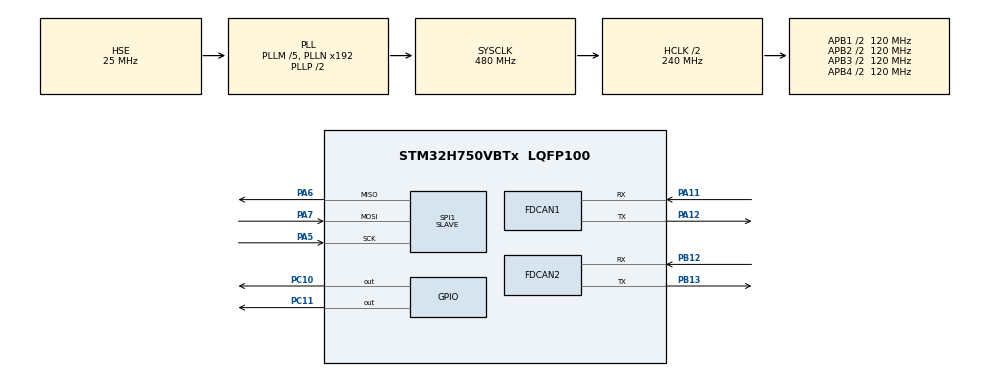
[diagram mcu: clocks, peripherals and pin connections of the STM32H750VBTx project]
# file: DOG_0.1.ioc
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FDCAN1.CalculateBaudRateNominal=999999
FDCAN1.CalculateTimeBitNominal=1000
FDCAN1.CalculateTimeQuantumNominal=41.66666666666667
FDCAN1.NominalPrescaler=5
FDCAN1.NominalTimeSeg1=15
FDCAN1.NominalTimeSeg2=8
FDCAN1.RxFifo0ElmtsNbr=32
FDCAN1.TxFifoQueueElmtsNbr=16
FDCAN2.CalculateBaudRateNominal=999999
FDCAN2.CalculateTimeBitNominal=1000
FDCAN2.CalculateTimeQuantumNominal=41.66666666666667
FDCAN2.NominalPrescaler=5
FDCAN2.NominalTimeSeg1=15
FDCAN2.NominalTimeSeg2=8
FDCAN2.RxFifo0ElmtsNbr=32
FDCAN2.TxFifoQueueElmtsNbr=16
Mcu.Family=STM32H7
Mcu.Name=STM32H750VBTx
Mcu.Package=LQFP100
NVIC.PriorityGroup=NVIC_PRIORITYGROUP_4
PA11.Mode=FDCAN_Activate
PA11.Signal=FDCAN1_RX
PA12.Mode=FDCAN_Activate
PA12.Signal=FDCAN1_TX
PA13\ (JTMS/SWDIO).Mode=Serial_Wire
PA13\ (JTMS/SWDIO).Signal=DEBUG_JTMS-SWDIO
PA14\ (JTCK/SWCLK).Mode=Serial_Wire
PA14\ (JTCK/SWCLK).Signal=DEBUG_JTCK-SWCLK
PA5.Mode=Full_Duplex_Slave
PA5.Signal=SPI1_SCK
PA6.Mode=Full_Duplex_Slave
PA6.Signal=SPI1_MISO
PA7.Mode=Full_Duplex_Slave
PA7.Signal=SPI1_MOSI
PB12.Mode=FDCAN_Activate
PB12.Signal=FDCAN2_RX
PB13.Mode=FDCAN_Activate
PB13.Signal=FDCAN2_TX
PC10.Signal=GPIO_Output
PC11.Signal=GPIO_Output
PC14-OSC32_IN\ (OSC32_IN).Mode=LSE-External-Oscillator
PC14-OSC32_IN\ (OSC32_IN).Signal=RCC_OSC32_IN
PC15-OSC32_OUT\ (OSC32_OUT).Mode=LSE-External-Oscillator
PC15-OSC32_OUT\ (OSC32_OUT).Signal=RCC_OSC32_OUT
PH0-OSC_IN\ (PH0).Mode=HSE-External-Oscillator
PH0-OSC_IN\ (PH0).Signal=RCC_OSC_IN
PH1-OSC_OUT\ (PH1).Mode=HSE-External-Oscillator
PH1-OSC_OUT\ (PH1).Signal=RCC_OSC_OUT
ProjectManager.HeapSize=0x200
ProjectManager.StackSize=0x400
ProjectManager.TargetToolchain=MDK-ARM V5.32
RCC.ADCFreq_Value=50390625
RCC.APB1Freq_Value=120000000
RCC.APB2Freq_Value=120000000
RCC.APB3Freq_Value=120000000
RCC.APB4Freq_Value=120000000
RCC.CortexFreq_Value=480000000
RCC.D1PPRE=RCC_APB3_DIV2
RCC.D2PPRE1=RCC_APB1_DIV2
RCC.D2PPRE2=RCC_APB2_DIV2
RCC.D3PPRE=RCC_APB4_DIV2
RCC.DIVM1=5
RCC.DIVN1=192
RCC.DIVQ1=8
RCC.HCLKFreq_Value=240000000
RCC.HPRE=RCC_HCLK_DIV2
RCC.PLL2FRACN=0
RCC.PLL3FRACN=0
RCC.PLLFRACN=0
RCC.PLLSourceVirtual=RCC_PLLSOURCE_HSE
RCC.SYSCLKFreq_VALUE=480000000
RCC.SYSCLKSource=RCC_SYSCLKSOURCE_PLLCLK
RCC.USBFreq_Value=120000000
SPI1.DataSize=SPI_DATASIZE_8BIT
SPI1.Direction=SPI_DIRECTION_2LINES
SPI1.Mode=SPI_MODE_SLAVE
SPI1.VirtualType=VM_SLAVE
board=custom

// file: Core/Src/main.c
/* USER CODE BEGIN Header */
/**
  ******************************************************************************
  * @file           : main.c
  * @brief          : Main program body
  ******************************************************************************
  * @attention
  *
  * Copyright (c) 2024 STMicroelectronics.
  * All rights reserved.
  *
  * This software is licensed under terms that can be found in the LICENSE file
  * in the root directory of this software component.
  * If no LICENSE file comes with this software, it is provided AS-IS.
  *
  ******************************************************************************
  */

/* USER CODE END Header */
#include "main.h"
#include "fdcan.h"
#include "spi.h"
#include "gpio.h"

/* USER CODE BEGIN Includes */

#include <string.h>
#include <math.h>
#include <stdbool.h>

/* USER CODE END Includes */

/* USER CODE BEGIN PTD */

/* USER CODE BEGIN PD */
#ifndef BOARD_IS_A
#define BOARD_IS_A              0
#endif
#define MASTER_CAN_ID           0x00FD

#define SPI_FRAME_LEN           96
#define SPI_CMD_MAGIC           0xFA

#define SPI_OP_NOP              0x00
#define SPI_OP_SEND_CAN_RAW     0x10
#define SPI_OP_REINIT_REPORTS   0x11
#define SPI_OP_SEND_CAN_BATCH   0x12
#define SPI_OP_READ_MOTOR_PARAM 0x13
#define SPI_BATCH_HEADER_LEN    4U
#define SPI_BATCH_ENTRY_LEN     13U
#define SPI_BATCH_MAX_ENTRIES   7U

#define SNAPSHOT_MAGIC          0x5A
#define PARAM_RESPONSE_MAGIC    0x5B
#define SNAPSHOT_CAP_BATCH_CAN  (1UL << 0)
#define SNAPSHOT_CAP_PARAM_READBACK (1UL << 1)
#define ONLINE_TIMEOUT_MS       100U
#define REPORT_RETRY_MS         1000U
#define REPORT_STALE_MS         500U

// EPScan_time: 1 代表 10ms，之后每 +1 增加 5ms
#define ACTIVE_REPORT_PERIOD_CODE   1U

volatile uint32_t g_fdcan_rx_cnt = 0;
volatile uint32_t g_last_ext_id = 0;
volatile uint8_t  g_last_cmd_type = 0;
volatile uint8_t  g_last_src_id = 0;
volatile uint8_t  g_last_dst_id = 0;
volatile uint8_t  g_last_data[8] = {0};
volatile uint32_t g_parse_hit_cnt = 0;
volatile uint32_t g_last_fb_ext_id = 0;
volatile uint8_t  g_last_fb_cmd_type = 0;

volatile uint32_t g_fdcan1_tx_ok = 0, g_fdcan1_tx_fail = 0;
volatile uint32_t g_fdcan2_tx_ok = 0, g_fdcan2_tx_fail = 0;

#if BOARD_IS_A
static const uint8_t BOARD_MOTOR_IDS[6] = {0x11, 0x12, 0x13, 0x21, 0x22, 0x23};
static const uint8_t BOARD_TAG = 0xA1;
#else
static const uint8_t BOARD_MOTOR_IDS[6] = {0x31, 0x32, 0x33, 0x41, 0x42, 0x43};
static const uint8_t BOARD_TAG = 0xB1;
#endif

uint8_t rxbuff[SPI_FRAME_LEN] = {0};
uint8_t txbuff[SPI_FRAME_LEN] = {0};
/* USER CODE END PD */

typedef struct {
    uint8_t  can_id;
    float    pos_rad;
    float    vel_rad_s;
    float    torque_nm;
    float    temp_c;

    uint8_t  online;
    uint8_t  fault_bits;   // bit21~16
    uint8_t  mode_state;   // 0 reset, 1 cali, 2 motor

    uint32_t last_ms;      // 最近一次收到反馈的 ms
    uint32_t rx_count;     // 累计收到反馈次数
} motor_state_t;

typedef struct __attribute__((packed)) {
    uint8_t  can_id;
    uint8_t  online;
    uint8_t  fault_bits;
    uint8_t  mode_state;
    int16_t  pos_mrad;     // rad * 1000
    int16_t  vel_crad;     // rad/s * 100
    int16_t  tq_cNm;       // Nm * 100
    int16_t  temp_dC;      // 摄氏度 * 10
    uint16_t age_ms;       // 当前快照时刻 - last_ms
} motor_snapshot_t;

typedef struct __attribute__((packed)) {
    uint8_t  magic;         // 0x5A
    uint8_t  board_tag;     // A1 / B1
    uint16_t seq;           // 快照序号
    uint32_t board_tick_ms; // 生成快照时刻
    motor_snapshot_t motors[6];
    uint32_t reserved;      // 先保留，凑成 96 字节
} board_snapshot_t;

typedef struct __attribute__((packed)) {
    uint8_t  magic;         // 0x5B
    uint8_t  board_tag;     // A1 / B1
    uint8_t  motor_id;
    uint8_t  status;        // 0 success, 1 waiting, 2 timeout, 3 bad request
    uint16_t index;
    uint16_t reserved0;
    float    value_f32;
    uint32_t response_tick_ms;
    uint8_t  reserved[80];
} param_response_t;

typedef char board_snapshot_size_check[
    (sizeof(board_snapshot_t) == SPI_FRAME_LEN) ? 1 : -1
];
typedef char param_response_size_check[
    (sizeof(param_response_t) == SPI_FRAME_LEN) ? 1 : -1
];

typedef struct {
    volatile uint8_t  pending;
    volatile uint8_t  ready;
    volatile uint8_t  motor_id;
    volatile uint8_t  status;
    volatile uint16_t index;
    volatile float    value_f32;
    volatile uint32_t request_tick_ms;
    volatile uint32_t response_tick_ms;
} param_read_state_t;

static volatile motor_state_t g_motors[6];
static uint16_t g_snapshot_seq = 0;
static volatile param_read_state_t g_param_read = {0};
static uint8_t g_param_response_in_flight = 0;

void SystemClock_Config(void);
static void MPU_Config(void);

/* USER CODE BEGIN 0 */
static float map_u16_to_float(uint16_t x, float min_v, float max_v)
{
    return ((float)x) * (max_v - min_v) / 65535.0f + min_v;
}

static uint16_t be16_u(const uint8_t *p)
{
    return ((uint16_t)p[0] << 8) | p[1];
}

static int16_t clamp_i16(int32_t x)
{
    if (x > 32767) return 32767;
    if (x < -32768) return -32768;
    return (int16_t)x;
}

static int motor_slot_from_id(uint8_t can_id)
{
    for (int i = 0; i < 6; i++) {
        if (BOARD_MOTOR_IDS[i] == can_id) return i;
    }
    return -1;
}

// 0x1X / 0x3X -> FDCAN1
// 0x2X / 0x4X -> FDCAN2
static uint8_t can_port_from_motor_id(uint8_t can_id)
{
    switch ((can_id >> 4) & 0x0F) {
    case 0x1:
    case 0x3:
        return 1;
    case 0x2:
    case 0x4:
        return 2;
    default:
        return 0;
    }
}

static uint32_t build_ext_id(uint8_t cmd_type, uint16_t data_info_16, uint8_t target_id)
{
    return (((uint32_t)(cmd_type & 0x1F)) << 24) |
           (((uint32_t)data_info_16) << 8) |
           ((uint32_t)target_id);
}

static uint8_t can_send_ext(uint8_t can_port, uint32_t ext_id, const uint8_t data[8])
{
    uint8_t extFrame[4];
    memcpy(extFrame, &ext_id, 4);

    if (can_port == 1) {
        if (FDCAN1_Send_Msg(extFrame, (uint8_t *)data) == 0) { // 假设成功返回 0
            g_fdcan1_tx_ok++;
            return 0;
        } else {
            g_fdcan1_tx_fail++;
            return 1;
        }
    } else if (can_port == 2) {
        if (FDCAN2_Send_Msg(extFrame, (uint8_t *)data) == 0) {
            g_fdcan2_tx_ok++;
            return 0;
        } else {
            g_fdcan2_tx_fail++;
            return 1;
        }
    }
    return 1;
}
static uint8_t motor_write_param_u16(uint8_t can_id, uint16_t index, uint16_t value)
{
    uint8_t port = can_port_from_motor_id(can_id);
    uint32_t ext_id = build_ext_id(0x12, MASTER_CAN_ID, can_id);
    uint8_t data[8] = {0};

    // 类型18：参数写入
    // Byte0~1 index，低字节在前
    // Byte4~7 参数数据，低字节在前
    data[0] = (uint8_t)(index & 0xFF);
    data[1] = (uint8_t)((index >> 8) & 0xFF);

    data[4] = (uint8_t)(value & 0xFF);
    data[5] = (uint8_t)((value >> 8) & 0xFF);
    data[6] = 0;
    data[7] = 0;

    return can_send_ext(port, ext_id, data);
}

static uint8_t motor_read_param(uint8_t can_id, uint16_t index)
{
    uint8_t port = can_port_from_motor_id(can_id);
    uint32_t ext_id = build_ext_id(0x11, MASTER_CAN_ID, can_id);
    uint8_t data[8] = {0};

    data[0] = (uint8_t)(index & 0xFF);
    data[1] = (uint8_t)((index >> 8) & 0xFF);
    return can_send_ext(port, ext_id, data);
}

static uint8_t motor_write_param_u32(uint8_t can_id, uint16_t index, uint32_t value)
{
    uint8_t port = can_port_from_motor_id(can_id);
    uint32_t ext_id = build_ext_id(0x12, MASTER_CAN_ID, can_id);
    uint8_t data[8] = {0};

    data[0] = (uint8_t)(index & 0xFF);
    data[1] = (uint8_t)((index >> 8) & 0xFF);

    data[4] = (uint8_t)(value & 0xFF);
    data[5] = (uint8_t)((value >> 8) & 0xFF);
    data[6] = (uint8_t)((value >> 16) & 0xFF);
    data[7] = (uint8_t)((value >> 24) & 0xFF);

    return can_send_ext(port, ext_id, data);
}

static uint8_t motor_set_active_report(uint8_t can_id, uint8_t enable)
{
    uint8_t port = can_port_from_motor_id(can_id);
    uint32_t ext_id = build_ext_id(0x18, MASTER_CAN_ID, can_id);
    uint8_t data[8] = {1, 2, 3, 4, 5, 6, 0, 0};

    // 手册：F_CMD=0 关闭，F_CMD=1 开启
    data[6] = enable ? 1 : 0;
    data[7] = 0;

    return can_send_ext(port, ext_id, data);
}

static void fdcan_accept_all_rx(void)
{
    if (HAL_FDCAN_ConfigGlobalFilter(
            &hfdcan1,
            FDCAN_ACCEPT_IN_RX_FIFO0,
            FDCAN_ACCEPT_IN_RX_FIFO0,
            FDCAN_REJECT_REMOTE,
            FDCAN_REJECT_REMOTE) != HAL_OK) {
        Error_Handler();
    }

    if (HAL_FDCAN_ConfigGlobalFilter(
            &hfdcan2,
            FDCAN_ACCEPT_IN_RX_FIFO0,
            FDCAN_ACCEPT_IN_RX_FIFO0,
            FDCAN_REJECT_REMOTE,
            FDCAN_REJECT_REMOTE) != HAL_OK) {
        Error_Handler();
    }
}

static void motor_config_reports_one(int i)
{
        uint8_t id = BOARD_MOTOR_IDS[i];

        // 1) 关闭 can timeout，避免没收到控制指令就掉回 reset
        motor_write_param_u32(id, 0x7028, 0);
        HAL_Delay(2);

        // 2) 设置主动上报周期：1 -> 10ms
        motor_write_param_u16(id, 0x7026, ACTIVE_REPORT_PERIOD_CODE);
        HAL_Delay(2);

        // 3) 打开主动上报
        motor_set_active_report(id, 1);
        HAL_Delay(2);
}

static void motor_config_reports_all(void)
{
    for (int i = 0; i < 6; i++) {
        motor_config_reports_one(i);
    }
}

static uint8_t any_motor_feedback_stale(uint32_t now_ms)
{
    for (int i = 0; i < 6; i++) {
        if (g_motors[i].last_ms == 0U) {
            return 1;
        }
        if ((now_ms - g_motors[i].last_ms) > REPORT_STALE_MS) {
            return 1;
        }
    }
    return 0;
}

static void parse_motor_feedback(uint32_t ext_id, const uint8_t data[8])
{
    uint8_t cmd_type = (ext_id >> 24) & 0x1F;
    uint8_t motor_id = (ext_id >> 8)  & 0xFF;
    uint8_t fault    = (ext_id >> 16) & 0x3F;
    uint8_t mode     = (ext_id >> 22) & 0x03;

    // Type 17 (0x11) is a parameter-read response.
    if (cmd_type == 0x11) {
        uint16_t index = ((uint16_t)data[1] << 8) | data[0];
        if (g_param_read.pending &&
            motor_id == g_param_read.motor_id &&
            index == g_param_read.index) {
            float value = 0.0f;
            memcpy(&value, &data[4], sizeof(value));
            g_param_read.value_f32 = value;
            g_param_read.response_tick_ms = HAL_GetTick();
            g_param_read.status = 0;
            g_param_read.pending = 0;
            g_param_read.ready = 1;
        }
        return;
    }

    // 兼容 type 2 和 type 24
    if (!(cmd_type == 0x02 || cmd_type == 0x18)) {
        return;
    }

    int slot = motor_slot_from_id(motor_id);
    if (slot < 0) {
        return;
    }

    g_last_fb_ext_id   = ext_id;
    g_last_fb_cmd_type = cmd_type;
    g_parse_hit_cnt++;

    uint16_t pos_u = be16_u(&data[0]);
    uint16_t vel_u = be16_u(&data[2]);
    uint16_t tq_u  = be16_u(&data[4]);
    uint16_t tmp_u = be16_u(&data[6]);

    g_motors[slot].can_id     = motor_id;
    g_motors[slot].pos_rad    = map_u16_to_float(pos_u, -12.57f, 12.57f);
    g_motors[slot].vel_rad_s  = map_u16_to_float(vel_u, -44.0f, 44.0f);
    g_motors[slot].torque_nm  = map_u16_to_float(tq_u, -17.0f, 17.0f);
    g_motors[slot].temp_c     = ((float)tmp_u) / 10.0f;
    g_motors[slot].fault_bits = fault;
    g_motors[slot].mode_state = mode;
    g_motors[slot].online     = 1;
    g_motors[slot].last_ms    = HAL_GetTick();
    g_motors[slot].rx_count++;
}

static void fill_one_motor_snapshot(motor_snapshot_t *dst, const motor_state_t *src, uint32_t now_ms)
{
    uint32_t age = 0xFFFFu;

    dst->can_id     = src->can_id;
    dst->online     = src->online;
    dst->fault_bits = src->fault_bits;
    dst->mode_state = src->mode_state;

    dst->pos_mrad = clamp_i16((int32_t)lrintf(src->pos_rad * 1000.0f));
    dst->vel_crad = clamp_i16((int32_t)lrintf(src->vel_rad_s * 100.0f));   // 这里改成 *100，避免溢出
    dst->tq_cNm   = clamp_i16((int32_t)lrintf(src->torque_nm * 100.0f));
    dst->temp_dC  = clamp_i16((int32_t)lrintf(src->temp_c * 10.0f));

    if (src->last_ms != 0U) {
        age = now_ms - src->last_ms;
        if (age > 0xFFFFu) age = 0xFFFFu;
    }
    dst->age_ms = (uint16_t)age;
}

static void prepare_snapshot_frame(void)
{
    board_snapshot_t snap;
    motor_state_t local[6];
    uint32_t now_ms = HAL_GetTick();

    __disable_irq();
    for (int i = 0; i < 6; i++) {
        local[i] = g_motors[i];
    }
    __enable_irq();

    memset(&snap, 0, sizeof(snap));
    snap.magic         = SNAPSHOT_MAGIC;
    snap.board_tag     = BOARD_TAG;
    snap.seq           = ++g_snapshot_seq;
    snap.board_tick_ms = now_ms;
    snap.reserved      = SNAPSHOT_CAP_BATCH_CAN |
                         SNAPSHOT_CAP_PARAM_READBACK;

    for (int i = 0; i < 6; i++) {
        fill_one_motor_snapshot(&snap.motors[i], &local[i], now_ms);
    }

    memcpy(txbuff, &snap, sizeof(snap));
}

static void prepare_param_response_frame(void)
{
    param_response_t response;
    memset(&response, 0, sizeof(response));
    response.magic = PARAM_RESPONSE_MAGIC;
    response.board_tag = BOARD_TAG;
    response.motor_id = g_param_read.motor_id;
    response.status = g_param_read.status;
    response.index = g_param_read.index;
    response.value_f32 = g_param_read.value_f32;
    response.response_tick_ms = g_param_read.response_tick_ms;
    memcpy(txbuff, &response, sizeof(response));
    g_param_response_in_flight = 1;
}

static void prepare_spi_tx_frame(void)
{
    if (g_param_read.ready) {
        prepare_param_response_frame();
    } else {
        g_param_response_in_flight = 0;
        prepare_snapshot_frame();
    }
}

static void handle_spi_command(const uint8_t *rx)
{
    if (rx[0] != SPI_CMD_MAGIC) {
        return;
    }

    switch (rx[1]) {
    case SPI_OP_SEND_CAN_RAW:
    {
        // TODO(round3): This legacy opcode forwards exactly one CAN frame per
        // 96-byte SPI frame. Keep it for compatibility, but add a future
        // SPI_OP_SET_TARGETS6 batch opcode so one board can receive six motor
        // targets in a single SPI transaction.
        uint8_t port = rx[2];
        uint32_t ext_id = 0;
        uint8_t data[8];

        memcpy(&ext_id, &rx[4], 4);   // little-endian
        memcpy(data, &rx[8], 8);

        can_send_ext(port, ext_id, data);
        break;
    }

    case SPI_OP_SEND_CAN_BATCH:
    {
        uint8_t count = rx[2];
        if (count > SPI_BATCH_MAX_ENTRIES) {
            count = SPI_BATCH_MAX_ENTRIES;
        }
        for (uint8_t i = 0; i < count; i++) {
            uint32_t offset = SPI_BATCH_HEADER_LEN + ((uint32_t)i * SPI_BATCH_ENTRY_LEN);
            uint8_t port = rx[offset];
            uint32_t ext_id = 0;
            uint8_t data[8];
            memcpy(&ext_id, &rx[offset + 1U], 4);
            memcpy(data, &rx[offset + 5U], 8);
            can_send_ext(port, ext_id, data);
        }
        break;
    }

    case SPI_OP_REINIT_REPORTS:
        motor_config_reports_all();
        break;

    case SPI_OP_READ_MOTOR_PARAM:
    {
        uint8_t motor_id = rx[2];
        uint16_t index = ((uint16_t)rx[5] << 8) | rx[4];
        if (motor_slot_from_id(motor_id) < 0) {
            g_param_read.motor_id = motor_id;
            g_param_read.index = index;
            g_param_read.value_f32 = 0.0f;
            g_param_read.response_tick_ms = HAL_GetTick();
            g_param_read.status = 3;
            g_param_read.pending = 0;
            g_param_read.ready = 1;
            break;
        }
        g_param_read.motor_id = motor_id;
        g_param_read.index = index;
        g_param_read.value_f32 = 0.0f;
        g_param_read.request_tick_ms = HAL_GetTick();
        g_param_read.response_tick_ms = 0;
        g_param_read.status = 1;
        g_param_read.ready = 0;
        g_param_read.pending = 1;
        if (motor_read_param(motor_id, index) != 0) {
            g_param_read.status = 3;
            g_param_read.pending = 0;
            g_param_read.ready = 1;
            g_param_read.response_tick_ms = HAL_GetTick();
        }
        break;
    }

    case SPI_OP_NOP:
    default:
        break;
    }
}
/* USER CODE END 0 */

int main(void)
{

  /* MPU Configuration--------------------------------------------------------*/
  MPU_Config();

  /* MCU Configuration--------------------------------------------------------*/

  /* Reset of all peripherals, Initializes the Flash interface and the Systick. */
  HAL_Init();

  /* Configure the system clock */
  SystemClock_Config();

  /* Initialize all configured peripherals */
  MX_GPIO_Init();
  MX_FDCAN2_Init();
  MX_FDCAN1_Init();
  MX_SPI1_Init();
  /* USER CODE BEGIN 2 */
  for (int i = 0; i < 6; i++) {
      g_motors[i].can_id = BOARD_MOTOR_IDS[i];
      g_motors[i].online = 0;
      g_motors[i].fault_bits = 0;
      g_motors[i].mode_state = 0;
      g_motors[i].last_ms = 0;
      g_motors[i].rx_count = 0;
}

// 如果你保留了 fdcan.c 里的 HAL_FDCAN_Start，这里就不要再 Start 了。
// 推荐：只在 main 里 Start 一次。
  fdcan_accept_all_rx();

  HAL_FDCAN_Start(&hfdcan1);
  HAL_FDCAN_Start(&hfdcan2);

  HAL_FDCAN_ActivateNotification(&hfdcan1, FDCAN_IT_RX_FIFO0_NEW_MESSAGE, 0);
  HAL_FDCAN_ActivateNotification(&hfdcan2, FDCAN_IT_RX_FIFO0_NEW_MESSAGE, 0);

  memset(rxbuff, 0, sizeof(rxbuff));
  memset(txbuff, 0, sizeof(txbuff));
  prepare_spi_tx_frame();

 // 给电机一点上电稳定时间，然后打开主动上报
  HAL_Delay(50);
  motor_config_reports_all();
/* USER CODE END 2 */

  /* Infinite loop */

  /* USER CODE BEGIN WHILE */

  uint32_t last_report_retry_ms = 0U;
  uint8_t next_report_retry_motor = 0U;

  while (1)
  {
    uint32_t now = HAL_GetTick();

    // 在线超时：超过 ONLINE_TIMEOUT_MS 没刷新就判离线
    for (int i = 0; i < 6; i++) {
        if (g_motors[i].online && (now - g_motors[i].last_ms > ONLINE_TIMEOUT_MS)) {
            g_motors[i].online = 0;
        }
    }

    if (g_param_read.pending &&
        (now - g_param_read.request_tick_ms) > 100U) {
        g_param_read.status = 2;
        g_param_read.pending = 0;
        g_param_read.ready = 1;
        g_param_read.response_tick_ms = now;
    }

    // 先准备当前快照，或一次性参数读回响应。
    prepare_spi_tx_frame();

    // NX 发 96 字节过来时，会在同一帧收到当前 snapshot
    if ((now - last_report_retry_ms) > REPORT_RETRY_MS) {
        last_report_retry_ms = now;
        if (any_motor_feedback_stale(now)) {
            /* Repair one motor per pass. Repairing all six blocks SPI ~36 ms. */
            for (uint8_t step = 0U; step < 6U; step++) {
                uint8_t i = (uint8_t)((next_report_retry_motor + step) % 6U);
                if ((g_motors[i].last_ms == 0U) ||
                    ((now - g_motors[i].last_ms) > REPORT_STALE_MS)) {
                    motor_config_reports_one(i);
                    next_report_retry_motor = (uint8_t)((i + 1U) % 6U);
                    break;
                }
            }
        }
    }

    HAL_SPI_TransmitReceive(&hspi1, txbuff, rxbuff, SPI_FRAME_LEN, 0xFFFF);

    if (g_param_response_in_flight) {
        g_param_read.ready = 0;
        g_param_response_in_flight = 0;
    }

    // 如有命令，则顺手处理
    handle_spi_command(rxbuff);

    memset(rxbuff, 0, sizeof(rxbuff));
  }
  /* USER CODE END 3 */
}

void SystemClock_Config(void)
{
  RCC_OscInitTypeDef RCC_OscInitStruct = {0};
  RCC_ClkInitTypeDef RCC_ClkInitStruct = {0};

  /** Supply configuration update enable
  */
  HAL_PWREx_ConfigSupply(PWR_LDO_SUPPLY);

  /** Configure the main internal regulator output voltage
  */
  __HAL_PWR_VOLTAGESCALING_CONFIG(PWR_REGULATOR_VOLTAGE_SCALE1);

  while(!__HAL_PWR_GET_FLAG(PWR_FLAG_VOSRDY)) {}

  __HAL_RCC_SYSCFG_CLK_ENABLE();
  __HAL_PWR_VOLTAGESCALING_CONFIG(PWR_REGULATOR_VOLTAGE_SCALE0);

  while(!__HAL_PWR_GET_FLAG(PWR_FLAG_VOSRDY)) {}

  /** Initializes the RCC Oscillators according to the specified parameters
  * in the RCC_OscInitTypeDef structure.
  */
  RCC_OscInitStruct.OscillatorType = RCC_OSCILLATORTYPE_HSE;
  RCC_OscInitStruct.HSEState = RCC_HSE_ON;
  RCC_OscInitStruct.PLL.PLLState = RCC_PLL_ON;
  RCC_OscInitStruct.PLL.PLLSource = RCC_PLLSOURCE_HSE;
  RCC_OscInitStruct.PLL.PLLM = 5;
  RCC_OscInitStruct.PLL.PLLN = 192;
  RCC_OscInitStruct.PLL.PLLP = 2;
  RCC_OscInitStruct.PLL.PLLQ = 8;
  RCC_OscInitStruct.PLL.PLLR = 2;
  RCC_OscInitStruct.PLL.PLLRGE = RCC_PLL1VCIRANGE_2;
  RCC_OscInitStruct.PLL.PLLVCOSEL = RCC_PLL1VCOWIDE;
  RCC_OscInitStruct.PLL.PLLFRACN = 0;
  if (HAL_RCC_OscConfig(&RCC_OscInitStruct) != HAL_OK)
  {
    Error_Handler();
  }

  /** Initializes the CPU, AHB and APB buses clocks
  */
  RCC_ClkInitStruct.ClockType = RCC_CLOCKTYPE_HCLK|RCC_CLOCKTYPE_SYSCLK
                              |RCC_CLOCKTYPE_PCLK1|RCC_CLOCKTYPE_PCLK2
                              |RCC_CLOCKTYPE_D3PCLK1|RCC_CLOCKTYPE_D1PCLK1;
  RCC_ClkInitStruct.SYSCLKSource = RCC_SYSCLKSOURCE_PLLCLK;
  RCC_ClkInitStruct.SYSCLKDivider = RCC_SYSCLK_DIV1;
  RCC_ClkInitStruct.AHBCLKDivider = RCC_HCLK_DIV2;
  RCC_ClkInitStruct.APB3CLKDivider = RCC_APB3_DIV2;
  RCC_ClkInitStruct.APB1CLKDivider = RCC_APB1_DIV2;
  RCC_ClkInitStruct.APB2CLKDivider = RCC_APB2_DIV2;
  RCC_ClkInitStruct.APB4CLKDivider = RCC_APB4_DIV2;

  if (HAL_RCC_ClockConfig(&RCC_ClkInitStruct, FLASH_LATENCY_4) != HAL_OK)
  {
    Error_Handler();
  }
}

/* USER CODE BEGIN 4 */
void HAL_FDCAN_RxFifo0Callback(FDCAN_HandleTypeDef *hfdcan, uint32_t RxFifo0ITs)
{
    FDCAN_RxHeaderTypeDef rxHeader;
    uint8_t data[8];

    if ((RxFifo0ITs & FDCAN_IT_RX_FIFO0_NEW_MESSAGE) == 0) {
        return;
    }

    while (HAL_FDCAN_GetRxFifoFillLevel(hfdcan, FDCAN_RX_FIFO0) > 0U) {
        if (HAL_FDCAN_GetRxMessage(hfdcan, FDCAN_RX_FIFO0, &rxHeader, data) != HAL_OK) {
            break;
        }

        g_fdcan_rx_cnt++;
        g_last_ext_id   = rxHeader.Identifier;
        g_last_cmd_type = (rxHeader.Identifier >> 24) & 0x1F;
        g_last_src_id   = (rxHeader.Identifier >> 8) & 0xFF;
        g_last_dst_id   = rxHeader.Identifier & 0xFF;
        memcpy((void *)g_last_data, data, 8);

        if (rxHeader.IdType == FDCAN_EXTENDED_ID) {
            parse_motor_feedback(rxHeader.Identifier, data);
        }
    }
}
/* USER CODE END 4 */

/* MPU Configuration */

void MPU_Config(void)
{
  MPU_Region_InitTypeDef MPU_InitStruct = {0};

  /* Disables the MPU */
  HAL_MPU_Disable();

  /** Initializes and configures the Region and the memory to be protected
  */
  MPU_InitStruct.Enable = MPU_REGION_ENABLE;
  MPU_InitStruct.Number = MPU_REGION_NUMBER0;
  MPU_InitStruct.BaseAddress = 0x0;
  MPU_InitStruct.Size = MPU_REGION_SIZE_4GB;
  MPU_InitStruct.SubRegionDisable = 0x87;
  MPU_InitStruct.TypeExtField = MPU_TEX_LEVEL0;
  MPU_InitStruct.AccessPermission = MPU_REGION_NO_ACCESS;
  MPU_InitStruct.DisableExec = MPU_INSTRUCTION_ACCESS_DISABLE;
  MPU_InitStruct.IsShareable = MPU_ACCESS_SHAREABLE;
  MPU_InitStruct.IsCacheable = MPU_ACCESS_NOT_CACHEABLE;
  MPU_InitStruct.IsBufferable = MPU_ACCESS_NOT_BUFFERABLE;

  HAL_MPU_ConfigRegion(&MPU_InitStruct);
  /* Enables the MPU */
  HAL_MPU_Enable(MPU_PRIVILEGED_DEFAULT);

}

void Error_Handler(void)
{
  __disable_irq();
  while (1)
  {
  }
}
